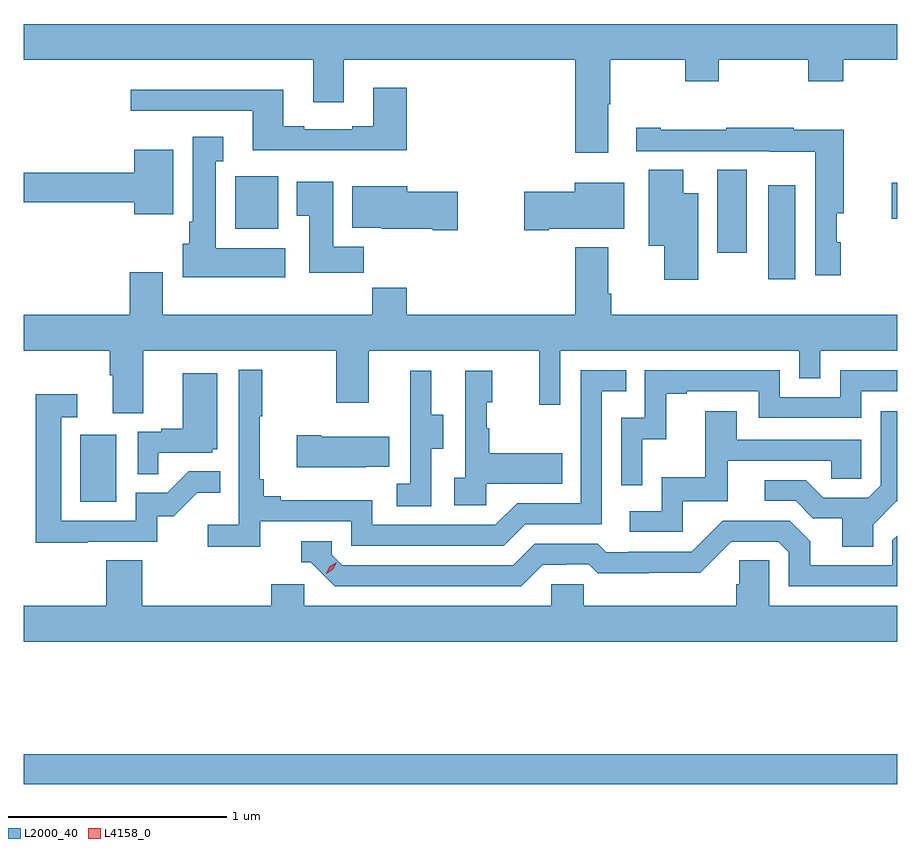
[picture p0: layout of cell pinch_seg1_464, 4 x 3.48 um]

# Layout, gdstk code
import gdstk
lib = gdstk.Library(unit=1e-6, precision=1e-09)
def R(c, l, rs):  # rectangles x0, y0, x1, y1
    for r in rs: c.add(gdstk.rectangle(r[:2], r[2:], *l))
def P(c, l, *ps):  # polygons
    for p in ps: c.add(gdstk.Polygon(p, *l))
L2000_40 = (2000, 40)
L4158_0 = (4158, 0)

pinch_seg1_464 = lib.new_cell('pinch_seg1_464')
R(pinch_seg1_464, L2000_40, [(1008.66,516.448,1012.66,516.584), (1008.92,517.74,1009.084,518.047), (1012.07,518.76,1012.192,519.19), (1011.836,518.88,1011.97,519.26), (1009.628,518.99,1009.825,519.232), (1012.635,519.037,1012.66,519.202)])
P(pinch_seg1_464, L2000_40, [(1011.337,519.56),(1011.345,519.56),(1011.345,519.764),(1011.688,519.764),(1011.688,519.665),(1011.843,519.665),(1011.843,519.764),(1012.252,519.764),(1012.252,519.665),(1012.412,519.665),(1012.412,519.764),(1012.66,519.764),(1012.66,519.928),(1008.66,519.928),(1008.66,519.764),(1009.985,519.764),(1009.985,519.57),(1010.125,519.57),(1010.125,519.764),(1011.185,519.764),(1011.185,519.339),(1011.337,519.339)],
  [(1010.414,519.637),(1010.261,519.637),(1010.261,519.46),(1010.165,519.46),(1010.165,519.447),(1009.945,519.447),(1009.945,519.46),(1009.849,519.46),(1009.849,519.628),(1009.149,519.628),(1009.149,519.531),(1009.709,519.531),(1009.709,519.35),(1010.414,519.35)],
  [(1012.4,518.928),(1012.383,518.928),(1012.383,519.062),(1012.414,519.062),(1012.414,519.444),(1012.187,519.444),(1012.187,519.454),(1011.877,519.454),(1011.877,519.444),(1011.577,519.444),(1011.577,519.454),(1011.465,519.454),(1011.465,519.345),(1012.074,519.345),(1012.074,519.344),(1012.284,519.344),(1012.284,518.778),(1012.4,518.778)],
  [(1009.858,518.902),(1009.54,518.902),(1009.54,519.299),(1009.573,519.299),(1009.573,519.412),(1009.433,519.412),(1009.433,519.022),(1009.418,519.022),(1009.418,518.922),(1009.388,518.922),(1009.388,518.768),(1009.858,518.768)],
  [(1009.345,519.352),(1009.166,519.352),(1009.166,519.248),(1008.66,519.248),(1008.66,519.112),(1009.166,519.112),(1009.166,519.056),(1009.345,519.056)],
  [(1011.748,519.154),(1011.679,519.154),(1011.679,519.26),(1011.521,519.26),(1011.521,518.912),(1011.593,518.912),(1011.593,518.757),(1011.748,518.757)],
  [(1010.216,518.908),(1010.077,518.908),(1010.077,519.205),(1009.91,519.205),(1009.91,519.049),(1009.967,519.049),(1009.967,518.79),(1010.216,518.79)],
  [(1011.064,518.99),(1011.409,518.99),(1011.409,519.202),(1011.182,519.202),(1011.182,519.161),(1010.952,519.161),(1010.952,518.983),(1011.064,518.983)],
  [(1010.647,519.161),(1010.416,519.161),(1010.416,519.184),(1010.165,519.184),(1010.165,518.996),(1010.298,518.996),(1010.298,518.99),(1010.534,518.99),(1010.534,518.983),(1010.647,518.983)],
  [(1011.185,518.905),(1011.185,518.596),(1010.414,518.596),(1010.414,518.72),(1010.257,518.72),(1010.257,518.596),(1009.297,518.596),(1009.297,518.791),(1009.145,518.791),(1009.145,518.596),(1008.66,518.596),(1008.66,518.432),(1009.055,518.432),(1009.055,518.32),(1009.067,518.32),(1009.067,518.146),(1009.207,518.146),(1009.207,518.432),(1010.092,518.432),(1010.092,518.193),(1010.239,518.193),(1010.239,518.432),(1011.02,518.432),(1011.02,518.184),(1011.117,518.184),(1011.117,518.432),(1012.212,518.432),(1012.212,518.305),(1012.308,518.305),(1012.308,518.432),(1012.66,518.432),(1012.66,518.596),(1011.35,518.596),(1011.35,518.692),(1011.337,518.692),(1011.337,518.905)],
  [(1009.742,517.65),(1010.16,517.65),(1010.16,517.539),(1010.857,517.539),(1010.956,517.638),(1011.306,517.638),(1011.306,518.247),(1011.419,518.247),(1011.419,518.343),(1011.21,518.343),(1011.21,517.734),(1010.919,517.734),(1010.82,517.635),(1010.256,517.635),(1010.256,517.747),(1009.837,517.747),(1009.837,517.766),(1009.76,517.766),(1009.76,517.843),(1009.741,517.843),(1009.741,518.131),(1009.753,518.131),(1009.753,518.344),(1009.644,518.344),(1009.644,517.636),(1009.503,517.636),(1009.503,517.534),(1009.742,517.534)],
  [(1011.492,518.027),(1011.602,518.027),(1011.602,518.235),(1011.697,518.235),(1011.697,518.247),(1012.026,518.247),(1012.026,518.124),(1012.494,518.124),(1012.494,518.247),(1012.66,518.247),(1012.66,518.343),(1012.398,518.343),(1012.398,518.22),(1012.122,518.22),(1012.122,518.343),(1011.504,518.343),(1011.504,518.124),(1011.396,518.124),(1011.396,517.815),(1011.492,517.815)],
  [(1010.778,517.823),(1011.125,517.823),(1011.125,517.963),(1010.791,517.963),(1010.791,518.078),(1010.781,518.078),(1010.781,518.196),(1010.806,518.196),(1010.806,518.341),(1010.682,518.341),(1010.682,517.85),(1010.631,517.85),(1010.631,517.725),(1010.778,517.725)],
  [(1010.526,517.984),(1010.581,517.984),(1010.581,518.139),(1010.527,518.139),(1010.527,518.341),(1010.429,518.341),(1010.429,518.127),(1010.43,518.127),(1010.43,517.823),(1010.367,517.823),(1010.367,517.72),(1010.526,517.72)],
  [(1009.277,517.965),(1009.524,517.965),(1009.524,517.98),(1009.546,517.98),(1009.546,518.329),(1009.388,518.329),(1009.388,518.074),(1009.289,518.074),(1009.289,518.061),(1009.182,518.061),(1009.182,517.867),(1009.277,517.867)],
  [(1008.953,517.557),(1009.272,517.557),(1009.272,517.674),(1009.348,517.674),(1009.455,517.781),(1009.559,517.781),(1009.559,517.88),(1009.415,517.88),(1009.317,517.782),(1009.173,517.782),(1009.173,517.653),(1008.831,517.653),(1008.831,518.127),(1008.904,518.127),(1008.904,518.233),(1008.715,518.233),(1008.715,517.552),(1008.953,517.552)],
  [(1012.549,517.636),(1012.656,517.743),(1012.66,517.743),(1012.66,518.155),(1012.584,518.155),(1012.584,517.815),(1012.527,517.758),(1012.321,517.758),(1012.24,517.839),(1012.053,517.839),(1012.053,517.746),(1012.194,517.746),(1012.274,517.666),(1012.409,517.666),(1012.409,517.534),(1012.549,517.534)],
  [(1011.678,517.743),(1011.883,517.743),(1011.883,517.929),(1012.357,517.929),(1012.357,517.845),(1012.494,517.845),(1012.494,518.025),(1011.925,518.025),(1011.925,518.155),(1011.781,518.155),(1011.781,517.852),(1011.582,517.852),(1011.582,517.698),(1011.435,517.698),(1011.435,517.602),(1011.678,517.602)],
  [(1010.225,517.901),(1010.333,517.901),(1010.333,518.038),(1010.023,518.038),(1010.023,518.046),(1009.911,518.046),(1009.911,517.898),(1010.225,517.898)],
  [(1011.037,517.452),(1011.144,517.452),(1011.144,517.455),(1011.247,517.455),(1011.289,517.413),(1011.522,517.413),(1011.522,517.415),(1011.758,517.415),(1011.9,517.557),(1012.116,517.557),(1012.164,517.509),(1012.164,517.353),(1012.66,517.353),(1012.66,517.585),(1012.638,517.563),(1012.638,517.449),(1012.261,517.449),(1012.261,517.559),(1012.167,517.653),(1011.861,517.653),(1011.72,517.512),(1011.427,517.512),(1011.427,517.509),(1011.328,517.509),(1011.289,517.548),(1011,517.548),(1010.901,517.449),(1010.118,517.449),(1010.07,517.497),(1010.07,517.56),(1009.931,517.56),(1009.931,517.464),(1009.974,517.464),(1010.085,517.353),(1010.938,517.353)],
  [(1012.66,517.264),(1012.074,517.264),(1012.074,517.472),(1011.937,517.472),(1011.937,517.362),(1011.923,517.362),(1011.923,517.264),(1011.225,517.264),(1011.225,517.362),(1011.075,517.362),(1011.075,517.264),(1009.944,517.264),(1009.944,517.362),(1009.793,517.362),(1009.793,517.264),(1009.202,517.264),(1009.202,517.472),(1009.037,517.472),(1009.037,517.264),(1008.66,517.264),(1008.66,517.1),(1012.66,517.1)])
P(pinch_seg1_464, L4158_0, [(1010.046,517.411),(1010.046,517.412),(1010.062,517.444),(1010.094,517.464),(1010.094,517.464),(1010.094,517.464),(1010.077,517.431),(1010.046,517.411)])

lib.write_gds('pinch_seg1_464.gds')
